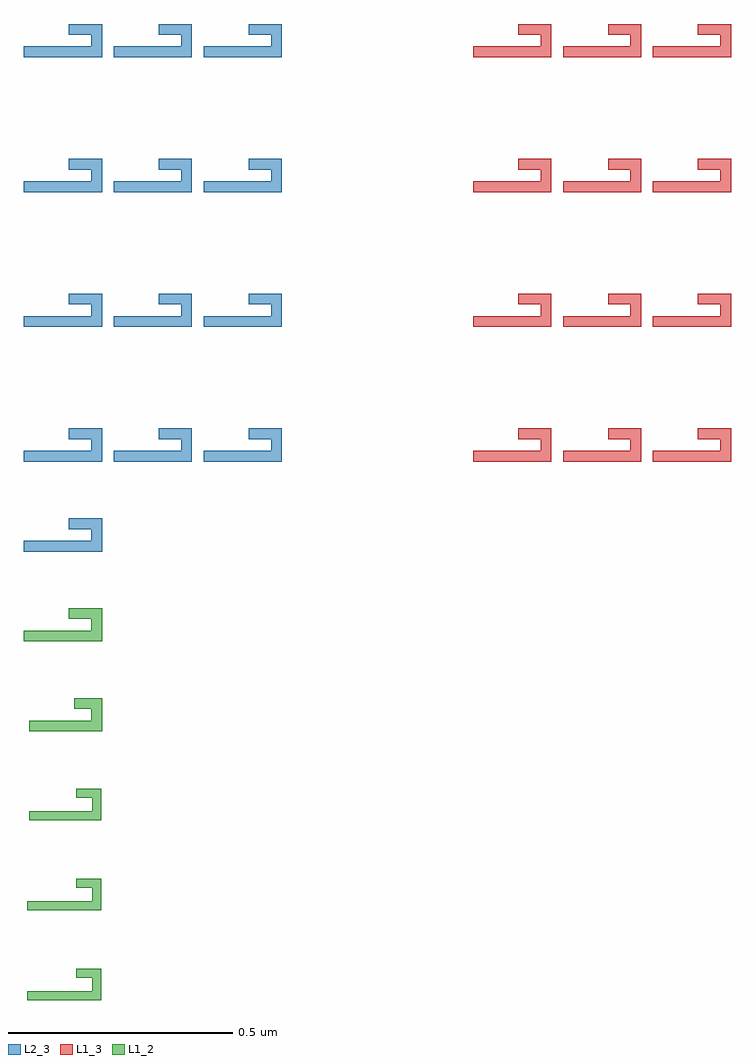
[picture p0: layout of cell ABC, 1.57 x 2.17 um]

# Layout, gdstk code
import gdstk
lib = gdstk.Library(unit=1e-6, precision=1e-09)
L1_2 = (1, 2)
L1_3 = (1, 3)
L2_3 = (2, 3)

abc = lib.new_cell('ABC')
abc.add(gdstk.FlexPath([(0,0.1),(0.15,0.1),(0.15,0.15),(0.1,0.15)], 0.02, ends=(0.005, -0.005), simple_path=True, layer=1, datatype=2))  # L1_2
abc.add(gdstk.FlexPath([(0,0.3),(0.15,0.3),(0.15,0.35),(0.1,0.35)], 0.02, ends=(0.005, -0.005), simple_path=True, layer=1, datatype=2))  # L1_2
abc.add(gdstk.FlexPath([(0,0.5),(0.15,0.5),(0.15,0.55),(0.1,0.55)], 0.02, ends=(0, -0.005), simple_path=True, layer=1, datatype=2))  # L1_2
abc.add(gdstk.FlexPath([(0,0.7),(0.15,0.7),(0.15,0.75),(0.1,0.75)], 0.024, ends="flush", simple_path=True, layer=1, datatype=2))  # L1_2
abc.add(gdstk.FlexPath([(0,0.9),(0.15,0.9),(0.15,0.95),(0.1,0.95)], 0.024, ends="extended", simple_path=True, layer=1, datatype=2))  # L1_2
abc.add(gdstk.FlexPath([(0,1.1),(0.15,1.1),(0.15,1.15),(0.1,1.15)], 0.024, ends="extended", simple_path=True, layer=2, datatype=3))  # L2_3
abc.add(gdstk.FlexPath([(0,1.3),(0.15,1.3),(0.15,1.35),(0.1,1.35)], 0.024, ends="extended", simple_path=True, layer=2, datatype=3))  # L2_3
abc.add(gdstk.FlexPath([(0.2,1.3),(0.35,1.3),(0.35,1.35),(0.3,1.35)], 0.024, ends="extended", simple_path=True, layer=2, datatype=3))  # L2_3
abc.add(gdstk.FlexPath([(0.4,1.3),(0.55,1.3),(0.55,1.35),(0.5,1.35)], 0.024, ends="extended", simple_path=True, layer=2, datatype=3))  # L2_3
abc.add(gdstk.FlexPath([(0,1.6),(0.15,1.6),(0.15,1.65),(0.1,1.65)], 0.024, ends="extended", simple_path=True, layer=2, datatype=3))  # L2_3
abc.add(gdstk.FlexPath([(0.2,1.6),(0.35,1.6),(0.35,1.65),(0.3,1.65)], 0.024, ends="extended", simple_path=True, layer=2, datatype=3))  # L2_3
abc.add(gdstk.FlexPath([(0.4,1.6),(0.55,1.6),(0.55,1.65),(0.5,1.65)], 0.024, ends="extended", simple_path=True, layer=2, datatype=3))  # L2_3
abc.add(gdstk.FlexPath([(0,1.9),(0.15,1.9),(0.15,1.95),(0.1,1.95)], 0.024, ends="extended", simple_path=True, layer=2, datatype=3))  # L2_3
abc.add(gdstk.FlexPath([(0.2,1.9),(0.35,1.9),(0.35,1.95),(0.3,1.95)], 0.024, ends="extended", simple_path=True, layer=2, datatype=3))  # L2_3
abc.add(gdstk.FlexPath([(0.4,1.9),(0.55,1.9),(0.55,1.95),(0.5,1.95)], 0.024, ends="extended", simple_path=True, layer=2, datatype=3))  # L2_3
abc.add(gdstk.FlexPath([(0,2.2),(0.15,2.2),(0.15,2.25),(0.1,2.25)], 0.024, ends="extended", simple_path=True, layer=2, datatype=3))  # L2_3
abc.add(gdstk.FlexPath([(0.2,2.2),(0.35,2.2),(0.35,2.25),(0.3,2.25)], 0.024, ends="extended", simple_path=True, layer=2, datatype=3))  # L2_3
abc.add(gdstk.FlexPath([(0.4,2.2),(0.55,2.2),(0.55,2.25),(0.5,2.25)], 0.024, ends="extended", simple_path=True, layer=2, datatype=3))  # L2_3
abc.add(gdstk.FlexPath([(1,1.3),(1.15,1.3),(1.15,1.35),(1.1,1.35)], 0.024, ends="extended", simple_path=True, layer=1, datatype=3))  # L1_3
abc.add(gdstk.FlexPath([(1.2,1.3),(1.35,1.3),(1.35,1.35),(1.3,1.35)], 0.024, ends="extended", simple_path=True, layer=1, datatype=3))  # L1_3
abc.add(gdstk.FlexPath([(1.4,1.3),(1.55,1.3),(1.55,1.35),(1.5,1.35)], 0.024, ends="extended", simple_path=True, layer=1, datatype=3))  # L1_3
abc.add(gdstk.FlexPath([(1,1.6),(1.15,1.6),(1.15,1.65),(1.1,1.65)], 0.024, ends="extended", simple_path=True, layer=1, datatype=3))  # L1_3
abc.add(gdstk.FlexPath([(1.2,1.6),(1.35,1.6),(1.35,1.65),(1.3,1.65)], 0.024, ends="extended", simple_path=True, layer=1, datatype=3))  # L1_3
abc.add(gdstk.FlexPath([(1.4,1.6),(1.55,1.6),(1.55,1.65),(1.5,1.65)], 0.024, ends="extended", simple_path=True, layer=1, datatype=3))  # L1_3
abc.add(gdstk.FlexPath([(1,1.9),(1.15,1.9),(1.15,1.95),(1.1,1.95)], 0.024, ends="extended", simple_path=True, layer=1, datatype=3))  # L1_3
abc.add(gdstk.FlexPath([(1.2,1.9),(1.35,1.9),(1.35,1.95),(1.3,1.95)], 0.024, ends="extended", simple_path=True, layer=1, datatype=3))  # L1_3
abc.add(gdstk.FlexPath([(1.4,1.9),(1.55,1.9),(1.55,1.95),(1.5,1.95)], 0.024, ends="extended", simple_path=True, layer=1, datatype=3))  # L1_3
abc.add(gdstk.FlexPath([(1,2.2),(1.15,2.2),(1.15,2.25),(1.1,2.25)], 0.024, ends="extended", simple_path=True, layer=1, datatype=3))  # L1_3
abc.add(gdstk.FlexPath([(1.2,2.2),(1.35,2.2),(1.35,2.25),(1.3,2.25)], 0.024, ends="extended", simple_path=True, layer=1, datatype=3))  # L1_3
abc.add(gdstk.FlexPath([(1.4,2.2),(1.55,2.2),(1.55,2.25),(1.5,2.25)], 0.024, ends="extended", simple_path=True, layer=1, datatype=3))  # L1_3

lib.write_gds('ABC.gds')
